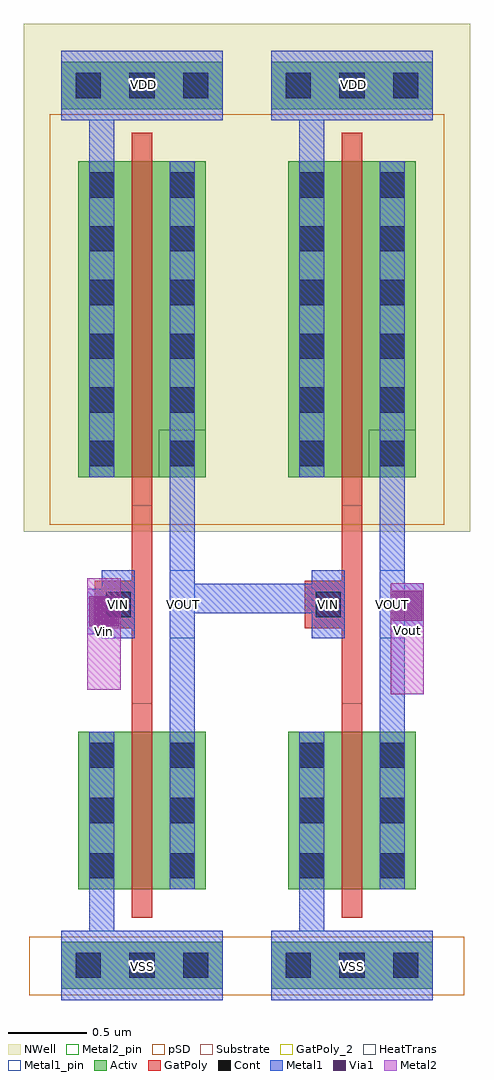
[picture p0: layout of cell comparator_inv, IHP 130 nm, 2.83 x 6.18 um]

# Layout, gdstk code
from math import pi, radians
import gdstk
lib = gdstk.Library(unit=1e-6, precision=1e-09)
def R(c, l, rs):  # rectangles x0, y0, x1, y1
    for r in rs: c.add(gdstk.rectangle(r[:2], r[2:], *l))
def A(c, l, x, y, w, h, nx, ny, dx, dy):  # array of equal rectangles
    R(c, l, [(x+i*dx, y+j*dy, x+i*dx+w, y+j*dy+h) for i in range(nx) for j in range(ny)])
def P(c, l, *ps):  # polygons
    for p in ps: c.add(gdstk.Polygon(p, *l))
Activ = (1, 0)
GatPoly = (5, 0)
GatPoly_2 = (5, 2)
Cont = (6, 0)
Metal1 = (8, 0)
Metal1_pin = (8, 2)
Metal2 = (10, 0)
Metal2_pin = (10, 2)
pSD = (14, 0)
Via1 = (19, 0)
NWell = (31, 0)
Substrate = (40, 0)
HeatTrans = (51, 0)

pmos = lib.new_cell('pmos')
R(pmos, Activ, [(0,0,0.3,0.3), (0,0,0.81,2), (0.51,0,0.81,0.3)])
R(pmos, GatPoly, [(0.34,-0.18,0.47,2.18), (0.34,-0.18,0.47,2.18)])
A(pmos, Cont, 0.07, 0.07, 0.16, 0.16, 1, 6, 0, 0.34)
A(pmos, Cont, 0.58, 0.07, 0.16, 0.16, 1, 6, 0, 0.34)
R(pmos, Metal1, [(0.07,0,0.23,2), (0.07,0,0.23,2), (0.58,0,0.74,2), (0.58,0,0.74,2)])
R(pmos, pSD, [(-0.18,-0.3,0.99,2.3)])
R(pmos, NWell, [(-0.31,-0.31,1.12,2.31)])
R(pmos, Substrate, [(0.51,0,0.81,0.3)])
R(pmos, HeatTrans, [(0.34,-0.18,0.47,2.18)])
pmos.add(gdstk.Label('pmos', (0.405,1), layer=63, texttype=0))
pmos.add(gdstk.Label('pmos', (0.405,1), layer=51, texttype=0))

nmos_1 = lib.new_cell('nmos$1')
R(nmos_1, Activ, [(0,0,0.3,0.3), (0,0,0.81,1), (0.51,0,0.81,0.3)])
R(nmos_1, GatPoly, [(0.34,-0.18,0.47,1.18)])
R(nmos_1, GatPoly_2, [(0.34,-0.18,0.47,1.18)])
A(nmos_1, Cont, 0.07, 0.07, 0.16, 0.16, 1, 3, 0, 0.35)
A(nmos_1, Cont, 0.58, 0.07, 0.16, 0.16, 1, 3, 0, 0.35)
R(nmos_1, Metal1, [(0.07,0,0.23,1), (0.58,0,0.74,1)])
R(nmos_1, Metal1_pin, [(0.07,0,0.23,1), (0.58,0,0.74,1)])
R(nmos_1, HeatTrans, [(0.34,-0.18,0.47,1.18)])
nmos_1.add(gdstk.Label('nmos', (0.405,0.5), layer=63, texttype=0))
nmos_1.add(gdstk.Label('nmos', (0.405,0.5), layer=51, texttype=0))

via_stack = lib.new_cell('via_stack')
R(via_stack, Activ, [(-0.49,-0.15,0.49,0.15)])
A(via_stack, Cont, -0.42, -0.08, 0.16, 0.16, 3, 1, 0.34, 0)
R(via_stack, Metal1, [(-0.47,-0.08,0.47,0.08)])

via_stack_1 = lib.new_cell('via_stack$1')
R(via_stack_1, GatPoly, [(-0.15,-0.15,0.15,0.15)])
R(via_stack_1, Cont, [(-0.08,-0.08,0.08,0.08)])
R(via_stack_1, Metal1, [(-0.13,-0.08,0.13,0.08)])

via_stack_3 = lib.new_cell('via_stack$3')
R(via_stack_3, Metal1, [(-0.145,-0.105,0.145,0.105)])
R(via_stack_3, Metal2, [(-0.145,-0.1,0.145,0.1)])
R(via_stack_3, Via1, [(-0.095,-0.095,0.095,0.095)])

comparator_inv = lib.new_cell('comparator_inv')
R(comparator_inv, GatPoly, [(1.315,1.86,1.445,3.11), (2.645,1.86,2.775,3.11)])
R(comparator_inv, Metal1, [(1.045,0.42,1.205,1.08), (2.375,0.42,2.535,1.08), (1.555,1.135,1.715,3.725), (2.885,1.135,3.045,3.725), (1.125,2.27,1.335,2.7), (2.455,2.27,2.665,2.7), (1.555,2.43,2.64,2.615), (1.045,4.67,1.205,5.76), (2.375,4.67,2.535,5.76), (0.89,5.62,1.87,5.92), (2.22,5.62,3.2,5.92)])
P(comparator_inv, Metal1, [(1.045,5.01),(1.045,5.01),(1.205,5.01),(1.205,5.01)],
  [(2.375,5.01),(2.375,5.01),(2.535,5.01),(2.535,5.01)])
R(comparator_inv, Metal1_pin, [(0.87,-0.02,1.89,0.42), (2.2,-0.02,3.22,0.42), (1.125,2.27,1.335,2.7), (1.555,2.27,1.715,2.7), (2.455,2.27,2.665,2.7), (2.885,2.27,3.045,2.7), (0.87,5.55,1.89,5.99), (2.2,5.55,3.22,5.99)])
R(comparator_inv, Metal2, [(2.955,1.915,3.165,2.62), (1.035,1.945,1.245,2.65)])
R(comparator_inv, Metal2_pin, [(2.955,1.915,3.165,2.62), (1.035,1.945,1.245,2.585)])
R(comparator_inv, pSD, [(0.665,0.01,3.42,0.38), (0.795,2.99,3.295,5.59)])
R(comparator_inv, NWell, [(0.63,2.945,3.46,6.16)])
comparator_inv.add(gdstk.FlexPath([(2.2,0.2),(3.22,0.2)], 0.44, ends="flush", simple_path=True, layer=8, datatype=0))  # Metal1
comparator_inv.add(gdstk.FlexPath([(0.87,0.2),(1.89,0.2)], 0.44, ends="flush", simple_path=True, layer=8, datatype=0))  # Metal1
comparator_inv.add(gdstk.FlexPath([(2.2,5.77),(3.22,5.77)], 0.44, ends="flush", simple_path=True, layer=8, datatype=0))  # Metal1
comparator_inv.add(gdstk.FlexPath([(0.87,5.77),(1.89,5.77)], 0.44, ends="flush", simple_path=True, layer=8, datatype=0))  # Metal1
comparator_inv.add(gdstk.FlexPath([(2.2,5.77),(3.22,5.77)], 0.3, ends="flush", simple_path=True, layer=1, datatype=0))  # Activ
comparator_inv.add(gdstk.FlexPath([(2.2,0.2),(3.22,0.2)], 0.3, ends="flush", simple_path=True, layer=1, datatype=0))  # Activ
comparator_inv.add(gdstk.FlexPath([(0.87,5.77),(1.89,5.77)], 0.3, ends="flush", simple_path=True, layer=1, datatype=0))  # Activ
comparator_inv.add(gdstk.FlexPath([(0.87,0.2),(1.89,0.2)], 0.3, ends="flush", simple_path=True, layer=1, datatype=0))  # Activ
comparator_inv.add(gdstk.Reference(pmos, (0.975,3.29)))
comparator_inv.add(gdstk.Reference(nmos_1, (0.975,0.68)))
comparator_inv.add(gdstk.Reference(via_stack, (1.38,0.2)))
comparator_inv.add(gdstk.Reference(via_stack, (1.38,5.77)))
comparator_inv.add(gdstk.Reference(via_stack_1, (1.23,2.485), rotation=3*pi/2))
comparator_inv.add(gdstk.Reference(pmos, (2.305,3.29)))
comparator_inv.add(gdstk.Reference(nmos_1, (2.305,0.68)))
comparator_inv.add(gdstk.Reference(via_stack, (2.71,0.2)))
comparator_inv.add(gdstk.Reference(via_stack, (2.71,5.77)))
comparator_inv.add(gdstk.Reference(via_stack_1, (2.56,2.485), rotation=3*pi/2))
comparator_inv.add(gdstk.Reference(via_stack_3, (3.06,2.475), rotation=3*pi/2))
comparator_inv.add(gdstk.Reference(via_stack_3, (1.14,2.44), rotation=3*pi/2))
comparator_inv.add(gdstk.Label('VDD', (2.72,5.775), layer=8, texttype=25))
comparator_inv.add(gdstk.Label('VIN', (2.56,2.485), layer=8, texttype=25))
comparator_inv.add(gdstk.Label('VOUT', (2.965,2.485), layer=8, texttype=25))
comparator_inv.add(gdstk.Label('VSS', (2.715,0.195), layer=8, texttype=25))
comparator_inv.add(gdstk.Label('VOUT', (1.64,2.485), layer=8, texttype=25))
comparator_inv.add(gdstk.Label('VDD', (1.39,5.775), layer=8, texttype=25))
comparator_inv.add(gdstk.Label('VIN', (1.23,2.485), layer=8, texttype=25))
comparator_inv.add(gdstk.Label('VSS', (1.385,0.195), layer=8, texttype=25))
comparator_inv.add(gdstk.Label('Vout', (3.062,2.322), layer=10, texttype=25))
comparator_inv.add(gdstk.Label('Vin', (1.14,2.315), layer=10, texttype=25))

lib.write_gds('comparator_inv.gds')
